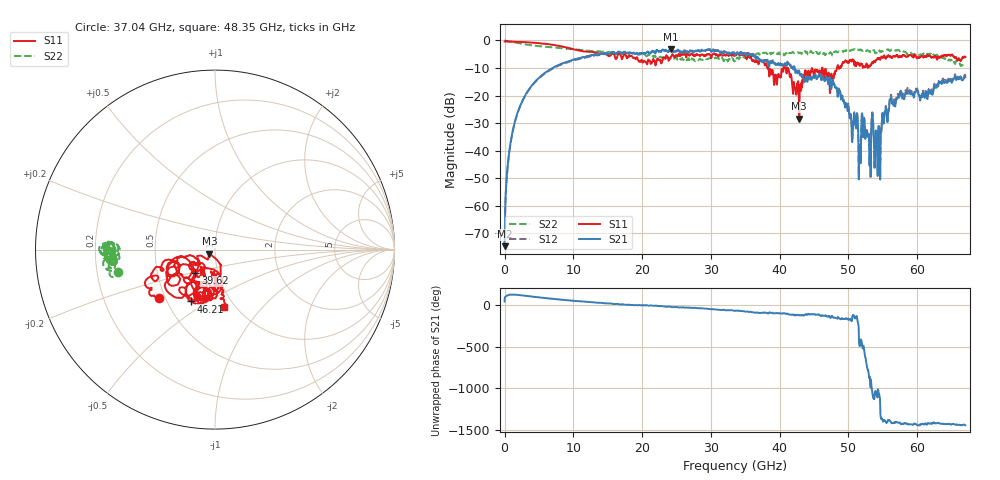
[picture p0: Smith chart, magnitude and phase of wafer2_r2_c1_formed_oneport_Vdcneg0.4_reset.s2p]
!Keysight Technologies,N5227A,US51270248,A.10.65.08
!Date: Tuesday, June 11, 2024 08:03:50
!Correction: S11(Full 2 Port(1,4))
!S41(Full 2 Port(1,4))
!S14(Full 2 Port(1,4))
!S44(Full 2 Port(1,4))
!S2P File: Measurements: S11, S41, S14, S44:
# Hz S  dB  R 50
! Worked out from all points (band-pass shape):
!   3201 points, 10 MHz to 67 GHz, reference 50 ohm
!   highest |S21| = -3.26 dB at 24.19 GHz (marker M1); lowest = -74.6 dB at 10 MHz (marker M2)
!   |S21| within 3 dB of the highest: 11.25 GHz to 36.41 GHz (25.16 GHz wide, 106 % of centre); 36.41781 GHz to 36.56486 GHz (147.1 MHz wide, 0.403 % of centre)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
!   lowest |S11| = -28.4 dB at 42.84 GHz (marker M3), VSWR 1.08, Z = 47 - j2.09 ohm
!   |S11| at or under -10 dB: 38.36 GHz to 40.59 GHz (2.228 GHz wide, 5.64 % of centre); 41.17 GHz to 46.15 GHz (4.98 GHz wide, 11.4 % of centre); 46.23 GHz to 48.32 GHz (2.088 GHz wide, 4.42 % of centre)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
!   |S22| runs from -9.2 to 0.0 dB; largest |S21 - S12| = 0.053
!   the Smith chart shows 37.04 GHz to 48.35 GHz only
!   S11 on the Smith chart (normalised r, x): 37.04 GHz: 0.46, -0.30; 39.62 GHz: 0.78, -0.21; 46.21 GHz: 0.66, -0.42; 48.35 GHz: 0.89, -0.64
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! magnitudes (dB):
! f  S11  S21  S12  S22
! 10 MHz  -0.4  -74.6  -74.2  -0.1
! 428.7 MHz  -0.4  -46.2  -46.4  -0.3
! 826.4 MHz  -0.5  -37.9  -38.1  -0.4
! 2.585 GHz  -0.6  -22.0  -22.1  -1.3
! 11.19 GHz  -3.9  -6.2  -6.6  -3.5
! 22.35 GHz  -6.9  -3.9  -3.9  -5.9
! 24.19 GHz  -5.9  -3.3  -3.3  -6.3
! 33.51 GHz  -5.5  -5.1  -5.0  -7.3
! 37.04 GHz  -7.7  -6.8  -6.9  -5.1
! 39.62 GHz  -15.3  -8.5  -8.8  -4.8
! 40.96 GHz  -11.1  -9.0  -8.9  -4.6
! 42.84 GHz  -28.4  -11.3  -11.1  -4.5
! 44.68 GHz  -10.3  -13.8  -13.4  -4.4
! 46.21 GHz  -10.0  -13.5  -13.1  -5.0
! 48.35 GHz  -9.8  -17.9  -17.8  -4.3
! 51.09 GHz  -9.0  -31.6  -31.2  -3.4
! 51.49 GHz  -8.5  -48.0  -47.9  -3.6
! 52.2 GHz  -9.4  -29.4  -28.8  -3.5
! 52.95 GHz  -9.2  -34.5  -33.3  -3.9
! 54.48 GHz  -6.5  -32.5  -32.4  -3.9
! 55.84 GHz  -5.6  -25.8  -25.1  -3.4
! 67 GHz  -6.0  -13.4  -12.8  -8.7
